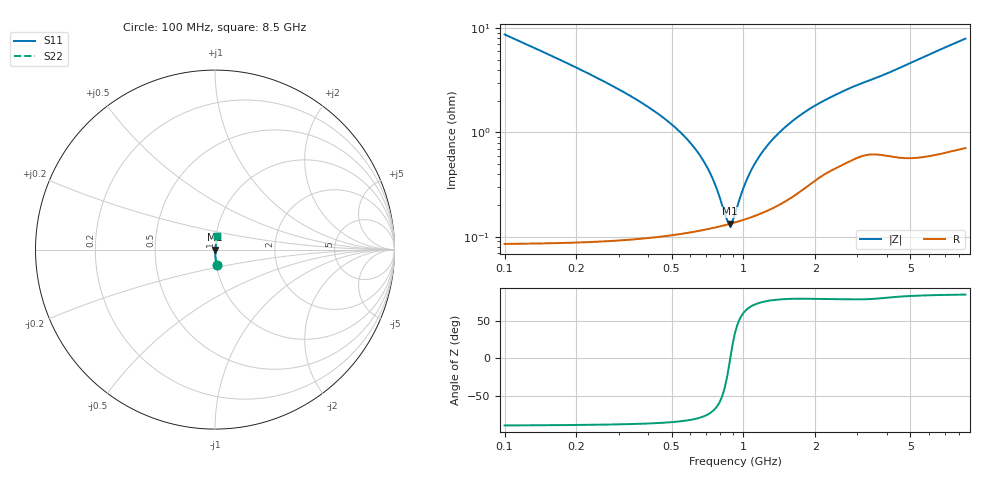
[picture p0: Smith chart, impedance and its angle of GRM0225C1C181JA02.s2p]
!Murata Part Number: GRM0225C1C181JA02
!These Parameters are Measured in Series Mode Connection
!Data Generated on Mar 30, 2021
!  o--ll--o
!Port1  Port2
!  o------o
!Operation Temp=25[degC], DC Bias Voltage=0[V]
!Freq. Start=100[MHz] Stop=9[GHz] 401[Steps]
# Hz S RI R 50
!Freq.(Hz) S11(Real) S11(Imag) S21(Real) S21(Imag) S12(Real) S12(Imag) S22(Real) S22(Imag)
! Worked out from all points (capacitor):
!   401 points, 100 MHz to 8.5 GHz, reference 50 ohm
!   read as one part in series: C = 180 pF near 142 MHz
!   lowest |Z| = 133 mohm at 877 MHz (marker M1)
!   series resonance near 880.6 MHz, so ESL is about 180 pH
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1e8  0.00839 -0.0865  0.9916 0.0865  0.9916 0.0865  0.00839 -0.0865
2.05e8  0.00253 -0.0406  0.9975 0.0406  0.9975 0.0406  0.00253 -0.0406
2.68e8  0.00179 -0.0298  0.9982 0.0298  0.9982 0.0298  0.00179 -0.0298
5.41e8  0.00116 -0.0101  0.9988 0.0101  0.9988 0.0101  0.00116 -0.0101
6.46e8  0.00117 -0.00627  0.9988 0.00627  0.9988 0.00627  0.00117 -0.00627
7.3e8  0.00121 -0.00376  0.9988 0.00376  0.9988 0.00376  0.00121 -0.00376
8.35e8  0.00129 -0.00106  0.9987 0.00106  0.9987 0.00106  0.00129 -0.00106
8.56e8  0.0013 -0.000562  0.9987 0.000562  0.9987 0.000562  0.0013 -0.000562
8.77e8  0.00132 -7.98e-05  0.9987 7.98e-05  0.9987 7.98e-05  0.00132 -7.98e-05
9.19e8  0.00136 0.000852  0.9986 -0.000852  0.9986 -0.000852  0.00136 0.000852
1.003e9  0.00146 0.0026  0.9985 -0.0026  0.9985 -0.0026  0.00146 0.0026
1.045e9  0.00151 0.00342  0.9985 -0.00342  0.9985 -0.00342  0.00151 0.00342
1.15e9  0.00165 0.00537  0.9983 -0.00537  0.9983 -0.00537  0.00165 0.00537
1.297e9  0.00189 0.00789  0.9981 -0.00789  0.9981 -0.00789  0.00189 0.00789
1.507e9  0.00232 0.0112  0.9977 -0.0112  0.9977 -0.0112  0.00232 0.0112
1.759e9  0.00299 0.0147  0.997 -0.0147  0.997 -0.0147  0.00299 0.0147
2.053e9  0.00394 0.0183  0.9961 -0.0183  0.9961 -0.0183  0.00394 0.0183
2.914e9  0.00625 0.0269  0.9937 -0.0269  0.9937 -0.0269  0.00625 0.0269
4.3e9  0.00728 0.0388  0.9927 -0.0388  0.9927 -0.0388  0.00728 0.0388
5.707e9  0.00854 0.0523  0.9915 -0.0523  0.9915 -0.0523  0.00854 0.0523
7.114e9  0.0107 0.0653  0.9893 -0.0653  0.9893 -0.0653  0.0107 0.0653
8.5e9  0.0131 0.0776  0.9869 -0.0776  0.9869 -0.0776  0.0131 0.0776
